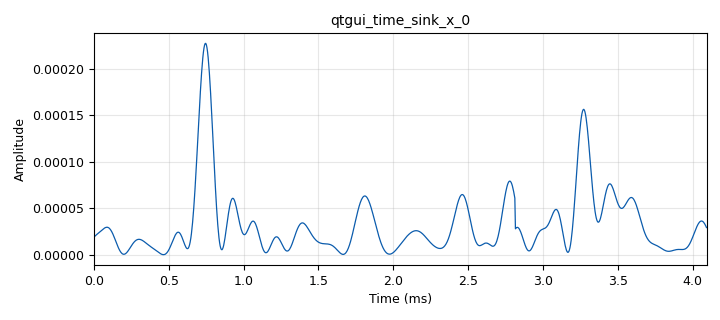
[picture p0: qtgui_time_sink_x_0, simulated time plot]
options:
  parameters:
    author: Calle
    generate_options: qt_gui
    id: end_ofdm_tx
    output_language: python
    title: end_ofdm_tx
  states: {}

blocks:
- name: fft_len
  id: variable
  parameters:
    value: '1024'
  states: {}
- name: len_tag_key
  id: variable
  parameters:
    value: '"packet_len"'
  states: {}
- name: occupied_carriers
  id: variable
  parameters:
    value: (list(range(-26, -21)) + list(range(-20, -7)) + list(range(-6, 0)) + list(range(1, 7)) + list(range(8, 21)) + list(range(22, 27)),)
  states: {}
- name: packet_len
  id: variable
  parameters:
    value: fft_len+fft_len//4
  states: {}
- name: packet_length_tag_key
  id: variable
  parameters:
    value: '"packet_len"'
  states: {}
- name: pilot_carriers
  id: variable
  parameters:
    value: ((-21, -7, 7, 21,),)
  states: {}
- name: pilot_symbols
  id: variable
  parameters:
    value: ((1, 1, 1, -1,),)
  states: {}
- name: samp_rate
  id: variable
  parameters:
    value: 250E3
  states: {}
- name: sync_word1
  id: variable
  parameters:
    value: '[0., 0., 0., 0., 0., 0., 0., 1.41421356, 0., -1.41421356, 0., 1.41421356, 0., -1.41421356, 0., -1.41421356, 0., -1.41421356, 0., 1.41421356, 0., -1.41421356, 0., 1.41421356, 0., -1.41421356, 0., -1.41421356, 0., -1.41421356, 0., -1.41421356, 0., 1.41421356, 0., -1.41421356, 0., 1.41421356, 0., 1.41421356, 0., 1.41421356, 0., -1.41421356, 0., 1.41421356, 0., 1.41421356, 0., 1.41421356, 0., -1.41421356, 0., 1.41421356, 0., 1.41421356, 0., 1.41421356, 0., 0., 0., 0., 0., 0.]'
  states: {}
- name: sync_word2
  id: variable
  parameters:
    value: '[0j, 0j, 0j, 0j, 0j, 0j, (-1+0j), (-1+0j), (-1+0j), (-1+0j), (1+0j), (1+0j), (-1+0j), (-1+0j), (-1+0j), (1+0j), (-1+0j), (1+0j), (1+0j), (1 +0j), (1+0j), (1+0j), (-1+0j), (-1+0j), (-1+0j), (-1+0j), (-1+0j), (1+0j), (-1+0j), (-1+0j), (1+0j), (-1+0j), 0j, (1+0j), (-1+0j), (1+0j), (1+0j), (1+0j), (-1+0j), (1+0j), (1+0j), (1+0j), (-1+0j), (1+0j), (1+0j), (1+0j), (1+0j), (-1+0j), (1+0j), (-1+0j), (-1+0j), (-1+0j), (1+0j), (-1+0j), (1+0j), (-1+0j), (-1+0j), (-1+0j), (-1+0j), 0j, 0j, 0j, 0j, 0j]'
  states: {}
- name: tx_gain
  id: variable_qtgui_range
  parameters:
    start: '0'
    step: '1'
    stop: '100'
    value: '50'
  states: {}
- name: analog_random_source_x_1
  id: analog_random_source_x
  parameters:
    max: '255'
    min: '0'
    num_samps: '1000'
    repeat: 'True'
    type: byte
  states: {state: disabled}
- name: blocks_complex_to_mag_squared_0
  id: blocks_complex_to_mag_squared
  parameters: {}
  states: {}
- name: blocks_multiply_const_vxx_0
  id: blocks_multiply_const_vxx
  parameters:
    const: 1/fft_len
    type: complex
  states: {}
- name: blocks_stream_to_tagged_stream_0
  id: blocks_stream_to_tagged_stream
  parameters:
    len_tag_key: len_tag_key
    packet_len: packet_len
    type: byte
  states: {state: disabled}
- name: blocks_stream_to_vector_0
  id: blocks_stream_to_vector
  parameters:
    num_items: fft_len
    type: complex
  states: {state: disabled}
- name: blocks_vector_to_stream_0
  id: blocks_vector_to_stream
  parameters:
    num_items: fft_len
    type: complex
  states: {}
- name: digital_ofdm_tx_0
  id: digital_ofdm_tx
  parameters:
    cp_len: fft_len//4
    fft_len: fft_len
    header_mod: '"BPSK"'
    log: 'True'
    occupied_carriers: occupied_carriers
    packet_len_key: packet_length_tag_key
    payload_mod: '"QPSK"'
    pilot_carriers: pilot_carriers
    pilot_symbols: pilot_symbols
    rolloff: '0'
    sync_word1: None
    sync_word2: None
  states: {state: disabled}
- name: epy_block_0
  id: epy_block
  parameters:
    _source_code: |
      """
      Embedded Python Blocks:

      Each time this file is saved, GRC will instantiate the first class it finds
      to get ports and parameters of your block. The arguments to __init__  will
      be the parameters. All of them are required to have default values!
      """

      import numpy as np
      from gnuradio import gr


      class blk(gr.sync_block):  # other base classes are basic_block, decim_block, interp_block
          """Embedded Python Block example - a simple multiply const"""

          def __init__(self, vlen=32, interpolation=32):  # only default arguments here
              """arguments to this function show up as parameters in GRC"""
              gr.sync_block.__init__(
                  self,
                  name='Random phase generator',   # will show up in GRC
                  in_sig=[],
                  out_sig=[(np.complex64, vlen*interpolation)]
              )
              self.vlen = vlen

          def work(self, input_items, output_items):
              """example: multiply with constant"""
              size = len(output_items[0])
              # output_items[0][:] = np.zeros(output_items[0].shape,dtype=np.complex64)
              output_items[0][:, :self.vlen] = np.exp(1j *np.random.uniform(0, 2*np.pi, (size,self.vlen)))
              output_items[0][:, 0] = 0 
              return size
    interpolation: '32'
    vlen: '32'
  states: {}
- name: fft_vxx_0
  id: fft_vxx
  parameters:
    fft_size: fft_len
    forward: 'False'
    shift: 'False'
    type: complex
    window: '[]'
  states: {}
- name: qtgui_time_sink_x_0
  id: qtgui_time_sink_x
  parameters:
    autoscale: 'True'
    ctrlpanel: 'True'
    size: '1024'
    srate: samp_rate
    type: float
  states: {}
- name: uhd_usrp_sink_0
  id: uhd_usrp_sink
  parameters:
    ant0: '"TX/RX"'
    ant1: '"TX/RX"'
    center_freq0: 917E6
    center_freq1: 917E6
    gain0: tx_gain
    gain1: tx_gain
    nchan: '2'
    samp_rate: samp_rate
    sync: sync
    type: fc32
  states: {}

connections:
- [analog_random_source_x_1, '0', blocks_stream_to_tagged_stream_0, '0']
- [blocks_complex_to_mag_squared_0, '0', qtgui_time_sink_x_0, '0']
- [blocks_multiply_const_vxx_0, '0', blocks_complex_to_mag_squared_0, '0']
- [blocks_multiply_const_vxx_0, '0', uhd_usrp_sink_0, '0']
- [blocks_multiply_const_vxx_0, '0', uhd_usrp_sink_0, '1']
- [blocks_stream_to_tagged_stream_0, '0', digital_ofdm_tx_0, '0']
- [blocks_stream_to_vector_0, '0', fft_vxx_0, '0']
- [blocks_vector_to_stream_0, '0', blocks_multiply_const_vxx_0, '0']
- [digital_ofdm_tx_0, '0', blocks_multiply_const_vxx_0, '0']
- [epy_block_0, '0', fft_vxx_0, '0']
- [fft_vxx_0, '0', blocks_vector_to_stream_0, '0']

metadata:
  file_format: 1
  grc_version: 3.10.7.0
